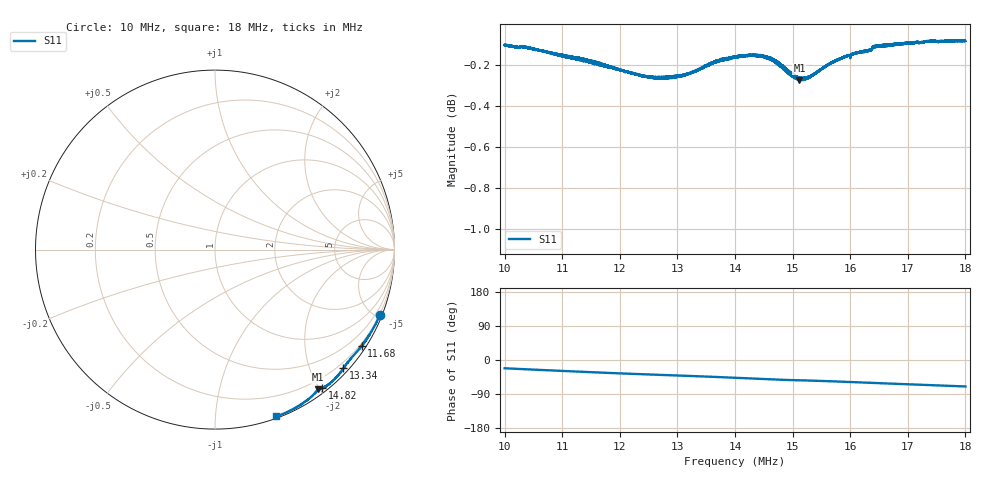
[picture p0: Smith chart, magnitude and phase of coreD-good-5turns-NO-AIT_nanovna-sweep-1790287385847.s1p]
! NanoVNA Web complex sweep
! Processing: unaveraged complex samples; linear segment spacing; no smoothing
# Hz S RI R 50
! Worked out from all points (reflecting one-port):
!   10100 points, 10 MHz to 18 MHz, reference 50 ohm
!   lowest |S11| = -0.3 dB at 15.12 MHz (marker M1), VSWR 63.28, Z = 3.89 - j99 ohm
!   phase of S11 starts at -22 deg and turns -48 deg over the sweep
!   S11 on the Smith chart (normalised r, x): 10 MHz: 0.17, -5.19; 11.68 MHz: 0.14, -3.34; 13.34 MHz: 0.10, -2.55; 14.82 MHz: 0.06, -2.04; 18 MHz: 0.01, -1.43
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1e7  0.9174 -0.3669
1.003643e7  0.9157 -0.371
1.035482e7  0.8991 -0.4068
1.065261e7  0.8815 -0.4394
1.10003e7  0.8608 -0.4734
1.136303e7  0.8384 -0.5084
1.167904e7  0.8173 -0.5365
1.19998e7  0.7954 -0.5631
1.245837e7  0.7655 -0.5972
1.30001e7  0.7339 -0.6359
1.334303e7  0.7155 -0.6616
1.36329e7  0.6976 -0.6862
1.39996e7  0.6709 -0.7161
1.426492e7  0.6501 -0.7366
1.451044e7  0.6277 -0.7548
1.467201e7  0.613 -0.7647
1.481932e7  0.5987 -0.7719
1.49991e7  0.5831 -0.7773
1.511711e7  0.5757 -0.7793
1.531036e7  0.5666 -0.7883
1.556142e7  0.5527 -0.8049
1.59994e7  0.5191 -0.833
1.633996e7  0.4913 -0.8545
1.643579e7  0.4821 -0.8613
1.69989e7  0.4333 -0.8893
1.74345e7  0.3936 -0.909
1.795881e7  0.3451 -0.9286
1.799841e7  0.3414 -0.9297
